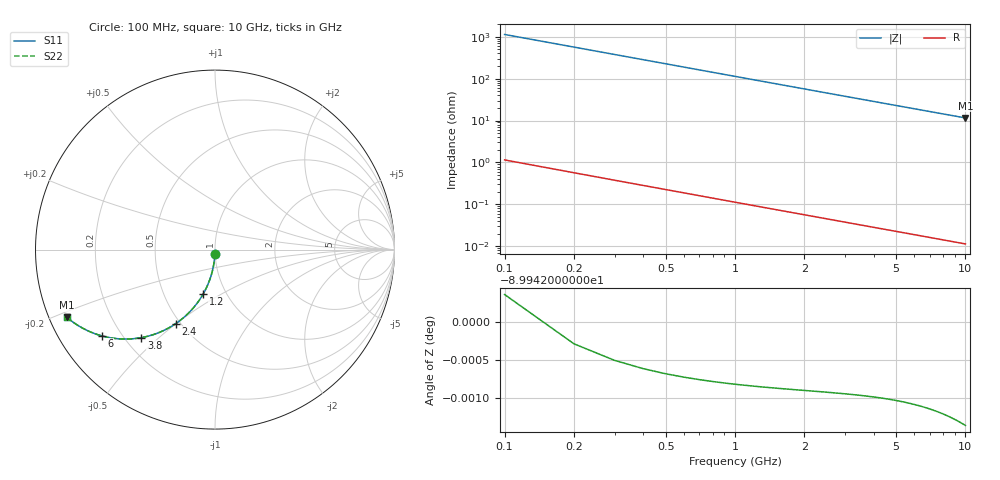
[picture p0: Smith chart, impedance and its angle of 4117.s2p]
# Hz S RI R 50.00
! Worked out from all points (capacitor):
!   100 points, 100 MHz to 10 GHz, reference 50 ohm
!   read as one part in shunt: C = 1.41 pF near 100 MHz
!   lowest |Z| = 11.5 ohm at 10 GHz (marker M1)
!   S11 on the Smith chart (normalised r, x): 100 MHz: 1.00, -0.04; 1.2 GHz: 0.78, -0.41; 2.4 GHz: 0.47, -0.50; 3.8 GHz: 0.27, -0.44; 6 GHz: 0.13, -0.33; 10 GHz: 0.05, -0.22
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1e8  -0.000509 -0.0221  0.9995 -0.0222  0.9995 -0.0222  -0.000509 -0.0221
2e8  -0.002 -0.0442  0.998 -0.0443  0.998 -0.0443  -0.002 -0.0442
3e8  -0.00446 -0.0661  0.9955 -0.0662  0.9955 -0.0662  -0.00446 -0.0661
4e8  -0.00787 -0.0878  0.9921 -0.088  0.9921 -0.088  -0.00787 -0.0878
5e8  -0.0122 -0.1092  0.9878 -0.1094  0.9878 -0.1094  -0.0122 -0.1092
6e8  -0.0175 -0.1303  0.9825 -0.1306  0.9825 -0.1306  -0.0175 -0.1303
7e8  -0.0236 -0.1511  0.9764 -0.1514  0.9764 -0.1514  -0.0236 -0.1511
9e8  -0.0383 -0.1912  0.9617 -0.1916  0.9617 -0.1916  -0.0383 -0.1912
1.2e9  -0.0659 -0.2474  0.9341 -0.2479  0.9341 -0.2479  -0.0659 -0.2474
1.5e9  -0.0991 -0.2979  0.9009 -0.2986  0.9009 -0.2986  -0.0991 -0.2979
1.8e9  -0.1365 -0.3424  0.8635 -0.3432  0.8635 -0.3432  -0.1365 -0.3424
2.1e9  -0.1767 -0.3804  0.8233 -0.3814  0.8233 -0.3814  -0.1767 -0.3804
2.4e9  -0.2186 -0.4122  0.7814 -0.4134  0.7814 -0.4134  -0.2186 -0.4122
2.9e9  -0.2894 -0.4523  0.7106 -0.4537  0.7106 -0.4537  -0.2894 -0.4523
3.4e9  -0.3582 -0.4782  0.6418 -0.4798  0.6418 -0.4798  -0.3582 -0.4782
3.8e9  -0.4103 -0.4905  0.5897 -0.4923  0.5897 -0.4923  -0.4103 -0.4905
4.4e9  -0.4819 -0.4981  0.5181 -0.5002  0.5181 -0.5002  -0.4819 -0.4981
5.1e9  -0.5548 -0.4953  0.4452 -0.4977  0.4452 -0.4977  -0.5548 -0.4953
6e9  -0.6323 -0.4802  0.3677 -0.4831  0.3677 -0.4831  -0.6323 -0.4802
6.7e9  -0.6815 -0.4638  0.3185 -0.467  0.3185 -0.467  -0.6815 -0.4638
8.4e9  -0.7702 -0.4182  0.2298 -0.4223  0.2298 -0.4223  -0.7702 -0.4182
1e10  -0.8257 -0.3764  0.1743 -0.3813  0.1743 -0.3813  -0.8257 -0.3764
